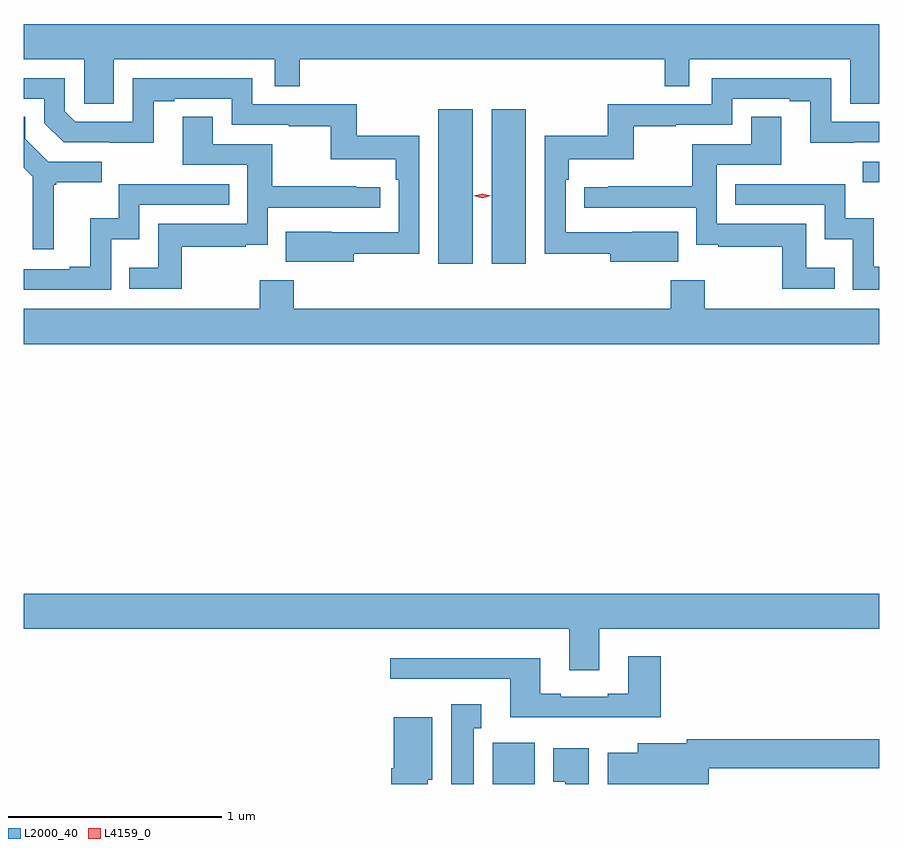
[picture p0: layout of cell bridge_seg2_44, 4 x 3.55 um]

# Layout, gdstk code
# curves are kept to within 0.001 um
import gdstk
lib = gdstk.Library(unit=1e-6, precision=1e-09)
def R(c, l, rs):  # rectangles x0, y0, x1, y1
    for r in rs: c.add(gdstk.rectangle(r[:2], r[2:], *l))
def P(c, l, *ps):  # polygons
    for p in ps: c.add(gdstk.Polygon(p, *l))
L2000_40 = (2000, 40)
L4159_0 = (4159, 0)

bridge_seg2_44 = lib.new_cell('bridge_seg2_44')
R(bridge_seg2_44, L2000_40, [(927.266,633.591,927.463,633.784), (927.011,636.024,927.172,636.745), (927.26,636.024,927.421,636.745), (928.995,636.404,929.073,636.501)])
P(bridge_seg2_44, L2000_40, [(925.495,636.98),(926.247,636.98),(926.247,636.853),(926.363,636.853),(926.363,636.98),(928.069,636.98),(928.069,636.853),(928.185,636.853),(928.185,636.98),(928.937,636.98),(928.937,636.772),(929.073,636.772),(929.073,637.144),(925.073,637.144),(925.073,636.98),(925.356,636.98),(925.356,636.772),(925.495,636.772)],
  [(926.617,636.07),(926.922,636.07),(926.922,636.622),(926.629,636.622),(926.629,636.768),(926.142,636.768),(926.142,636.891),(925.584,636.891),(925.584,636.687),(925.314,636.687),(925.266,636.735),(925.266,636.891),(925.073,636.891),(925.073,636.795),(925.17,636.795),(925.17,636.681),(925.26,636.591),(925.681,636.59),(925.681,636.783),(925.777,636.783),(925.777,636.795),(926.046,636.795),(926.046,636.672),(926.311,636.672),(926.311,636.667),(926.508,636.667),(926.508,636.512),(926.813,636.512),(926.813,636.416),(926.826,636.416),(926.826,636.171),(926.299,636.172),(926.299,636.032),(926.617,636.032)],
  [(928.133,636.172),(927.919,636.172),(927.919,636.171),(927.606,636.171),(927.606,636.416),(927.62,636.416),(927.62,636.512),(927.925,636.512),(927.925,636.667),(928.121,636.667),(928.121,636.672),(928.386,636.672),(928.386,636.795),(928.655,636.795),(928.655,636.783),(928.751,636.783),(928.751,636.59),(928.956,636.59),(928.956,636.591),(929.073,636.591),(929.073,636.687),(928.848,636.687),(928.848,636.891),(928.29,636.891),(928.29,636.768),(927.804,636.768),(927.804,636.622),(927.51,636.622),(927.51,636.07),(927.815,636.07),(927.815,636.032),(928.133,636.032)],
  [(925.813,636.102),(926.111,636.102),(926.111,636.113),(926.214,636.113),(926.214,636.285),(926.74,636.285),(926.74,636.381),(926.627,636.381),(926.627,636.386),(926.234,636.386),(926.234,636.582),(925.957,636.582),(925.957,636.71),(925.817,636.71),(925.817,636.486),(926.118,636.486),(926.118,636.21),(925.702,636.21),(925.702,636.004),(925.567,636.004),(925.567,635.907),(925.813,635.907)],
  [(928.865,636.004),(928.731,636.004),(928.731,636.21),(928.314,636.21),(928.314,636.486),(928.615,636.486),(928.615,636.71),(928.475,636.71),(928.475,636.582),(928.198,636.582),(928.198,636.386),(927.805,636.386),(927.805,636.381),(927.693,636.381),(927.693,636.285),(928.218,636.285),(928.218,636.113),(928.321,636.113),(928.321,636.102),(928.62,636.102),(928.62,635.907),(928.865,635.907)],
  [(925.213,636.393),(925.225,636.393),(925.225,636.404),(925.438,636.404),(925.438,636.501),(925.188,636.501),(925.081,636.608),(925.081,636.71),(925.073,636.71),(925.073,636.472),(925.116,636.429),(925.116,636.09),(925.213,636.09)],
  [(929.073,636.01),(929.047,636.01),(929.047,636.235),(928.914,636.235),(928.914,636.396),(928.399,636.396),(928.399,636.3),(928.818,636.3),(928.818,636.137),(928.95,636.137),(928.95,635.901),(929.073,635.901)],
  [(925.482,636.137),(925.614,636.137),(925.614,636.3),(926.033,636.3),(926.033,636.396),(925.518,636.396),(925.518,636.235),(925.385,636.235),(925.385,636.01),(925.289,636.01),(925.289,635.997),(925.073,635.997),(925.073,635.901),(925.482,635.901)],
  [(929.073,635.812),(928.257,635.812),(928.257,635.947),(928.097,635.947),(928.097,635.812),(926.336,635.812),(926.336,635.947),(926.176,635.947),(926.176,635.812),(925.073,635.812),(925.073,635.648),(929.073,635.648)],
  [(927.763,634.316),(929.073,634.316),(929.073,634.48),(925.073,634.48),(925.073,634.316),(927.623,634.316),(927.623,634.122),(927.763,634.122)],
  [(928.052,634.189),(927.899,634.189),(927.899,634.012),(927.803,634.012),(927.803,633.999),(927.583,633.999),(927.583,634.012),(927.487,634.012),(927.487,634.18),(926.787,634.18),(926.787,634.083),(927.347,634.083),(927.347,633.902),(928.052,633.902)],
  [(927.178,633.851),(927.211,633.851),(927.211,633.964),(927.071,633.964),(927.071,633.591),(927.178,633.591)],
  [(926.962,633.612),(926.983,633.612),(926.983,633.904),(926.804,633.904),(926.804,633.664),(926.792,633.664),(926.792,633.591),(926.962,633.591)],
  [(928.276,633.664),(929.073,633.664),(929.073,633.8),(928.172,633.8),(928.172,633.781),(927.944,633.781),(927.944,633.736),(927.803,633.736),(927.803,633.591),(928.276,633.591)],
  [(927.715,633.757),(927.548,633.757),(927.548,633.601),(927.605,633.601),(927.605,633.591),(927.715,633.591)])
P(bridge_seg2_44, L4159_0, [(927.216,636.33),(927.176,636.34),(927.176,636.34),(927.176,636.34),(927.216,636.35),(927.256,636.34),(927.256,636.34),(927.256,636.34)])

lib.write_gds('bridge_seg2_44.gds')
